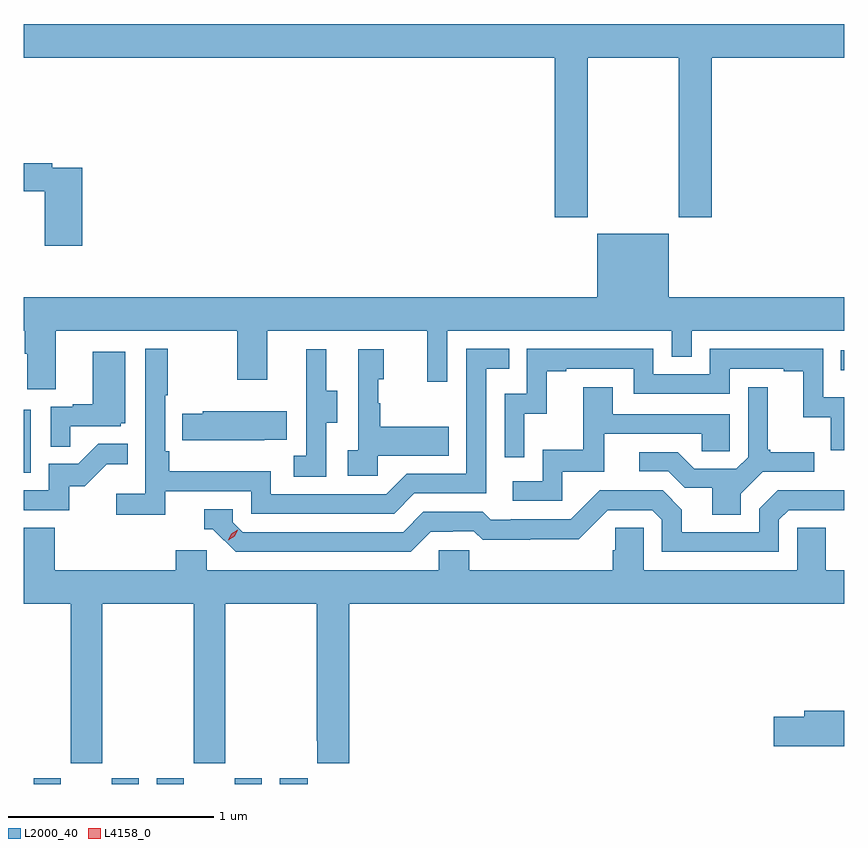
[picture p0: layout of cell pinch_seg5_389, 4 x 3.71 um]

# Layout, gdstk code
import gdstk
lib = gdstk.Library(unit=1e-6, precision=1e-09)
def R(c, l, rs):  # rectangles x0, y0, x1, y1
    for r in rs: c.add(gdstk.rectangle(r[:2], r[2:], *l))
def P(c, l, *ps):  # polygons
    for p in ps: c.add(gdstk.Polygon(p, *l))
L2000_40 = (2000, 40)
L4158_0 = (4158, 0)

pinch_seg5_389 = lib.new_cell('pinch_seg5_389')
R(pinch_seg5_389, L2000_40, [(970.028,870.533,970.159,870.562), (970.409,870.533,970.54,870.562), (970.628,870.533,970.759,870.562), (971.009,870.533,971.14,870.562), (971.228,870.533,971.365,870.562), (969.98,872.052,970.012,872.359), (973.963,872.552,973.98,872.649)])
P(pinch_seg5_389, L2000_40, [(972.729,874.076),(973.174,874.076),(973.174,873.297),(973.334,873.297),(973.334,874.076),(973.98,874.076),(973.98,874.24),(969.98,874.24),(969.98,874.076),(972.569,874.076),(972.569,873.297),(972.729,873.297)],
  [(970.265,873.54),(970.118,873.54),(970.118,873.56),(969.98,873.56),(969.98,873.424),(970.082,873.424),(970.082,873.159),(970.265,873.159)],
  [(970.135,872.744),(971.02,872.744),(971.02,872.505),(971.167,872.505),(971.167,872.744),(971.948,872.744),(971.948,872.496),(972.045,872.496),(972.045,872.744),(973.14,872.744),(973.14,872.617),(973.236,872.617),(973.236,872.744),(973.98,872.744),(973.98,872.908),(973.126,872.908),(973.126,873.217),(972.776,873.217),(972.776,872.908),(969.98,872.908),(969.98,872.744),(969.983,872.744),(969.983,872.632),(969.995,872.632),(969.995,872.458),(970.135,872.458)],
  [(970.67,871.962),(971.088,871.962),(971.088,871.851),(971.785,871.851),(971.884,871.95),(972.234,871.95),(972.234,872.559),(972.347,872.559),(972.347,872.655),(972.138,872.655),(972.138,872.046),(971.847,872.046),(971.748,871.947),(971.184,871.947),(971.184,872.059),(970.688,872.059),(970.688,872.155),(970.668,872.155),(970.668,872.428),(970.681,872.428),(970.681,872.656),(970.572,872.656),(970.572,871.948),(970.431,871.948),(970.431,871.846),(970.67,871.846)],
  [(972.42,872.339),(972.53,872.339),(972.53,872.547),(972.625,872.547),(972.625,872.559),(972.954,872.559),(972.954,872.436),(973.422,872.436),(973.422,872.559),(973.685,872.559),(973.685,872.547),(973.781,872.547),(973.781,872.321),(973.914,872.321),(973.914,872.16),(973.98,872.16),(973.98,872.419),(973.878,872.419),(973.878,872.655),(973.326,872.655),(973.326,872.532),(973.05,872.532),(973.05,872.655),(972.432,872.655),(972.432,872.436),(972.324,872.436),(972.324,872.127),(972.42,872.127)],
  [(971.454,872.296),(971.509,872.296),(971.509,872.451),(971.455,872.451),(971.455,872.653),(971.357,872.653),(971.357,872.439),(971.358,872.439),(971.358,872.135),(971.295,872.135),(971.295,872.032),(971.454,872.032)],
  [(971.706,872.135),(972.053,872.135),(972.053,872.275),(971.719,872.275),(971.719,872.39),(971.709,872.39),(971.709,872.508),(971.734,872.508),(971.734,872.653),(971.61,872.653),(971.61,872.162),(971.559,872.162),(971.559,872.037),(971.706,872.037)],
  [(970.205,872.277),(970.452,872.277),(970.452,872.292),(970.474,872.292),(970.474,872.641),(970.316,872.641),(970.316,872.386),(970.217,872.386),(970.217,872.373),(970.11,872.373),(970.11,872.179),(970.205,872.179)],
  [(973.477,871.948),(973.584,872.055),(973.834,872.055),(973.834,872.152),(973.621,872.152),(973.621,872.164),(973.609,872.164),(973.609,872.467),(973.512,872.467),(973.512,872.127),(973.455,872.07),(973.249,872.07),(973.168,872.151),(972.981,872.151),(972.981,872.058),(973.122,872.058),(973.202,871.978),(973.337,871.978),(973.337,871.846),(973.477,871.846)],
  [(972.606,872.055),(972.811,872.055),(972.811,872.241),(973.285,872.241),(973.285,872.157),(973.422,872.157),(973.422,872.337),(972.853,872.337),(972.853,872.467),(972.709,872.467),(972.709,872.164),(972.51,872.164),(972.51,872.01),(972.363,872.01),(972.363,871.914),(972.606,871.914)],
  [(971.153,872.213),(971.261,872.213),(971.261,872.35),(970.851,872.35),(970.851,872.34),(970.753,872.34),(970.753,872.21),(971.153,872.21)],
  [(970.2,871.986),(970.276,871.986),(970.383,872.093),(970.487,872.093),(970.487,872.192),(970.343,872.192),(970.245,872.094),(970.101,872.094),(970.101,871.965),(969.98,871.965),(969.98,871.869),(970.2,871.869)],
  [(971.965,871.764),(972.072,871.764),(972.072,871.767),(972.175,871.767),(972.217,871.725),(972.45,871.725),(972.45,871.727),(972.686,871.727),(972.828,871.869),(973.044,871.869),(973.092,871.821),(973.092,871.665),(973.662,871.665),(973.662,871.821),(973.71,871.869),(973.98,871.869),(973.98,871.967),(973.872,871.967),(973.872,871.965),(973.656,871.965),(973.566,871.875),(973.566,871.761),(973.189,871.761),(973.189,871.871),(973.095,871.965),(972.789,871.965),(972.648,871.824),(972.355,871.824),(972.355,871.821),(972.256,871.821),(972.217,871.86),(971.928,871.86),(971.829,871.761),(971.046,871.761),(970.998,871.809),(970.998,871.872),(970.859,871.872),(970.859,871.776),(970.902,871.776),(971.013,871.665),(971.866,871.665)],
  [(970.362,871.412),(970.807,871.412),(970.807,870.633),(970.962,870.633),(970.962,871.412),(971.407,871.412),(971.407,870.745),(971.411,870.745),(971.411,870.633),(971.567,870.633),(971.567,871.412),(973.98,871.412),(973.98,871.576),(973.891,871.576),(973.891,871.784),(973.752,871.784),(973.752,871.576),(973.002,871.576),(973.002,871.784),(972.865,871.784),(972.865,871.674),(972.851,871.674),(972.851,871.576),(972.153,871.576),(972.153,871.674),(972.003,871.674),(972.003,871.576),(970.872,871.576),(970.872,871.674),(970.721,871.674),(970.721,871.576),(970.13,871.576),(970.13,871.784),(969.98,871.784),(969.98,871.412),(970.207,871.412),(970.207,870.633),(970.362,870.633)],
  [(973.98,870.89),(973.787,870.89),(973.787,870.86),(973.638,870.86),(973.638,870.718),(973.98,870.718)])
P(pinch_seg5_389, L4158_0, [(970.976,871.721),(970.976,871.722),(970.992,871.754),(971.023,871.773),(971.023,871.773),(971.023,871.773),(971.007,871.741),(970.977,871.721)])

lib.write_gds('pinch_seg5_389.gds')
